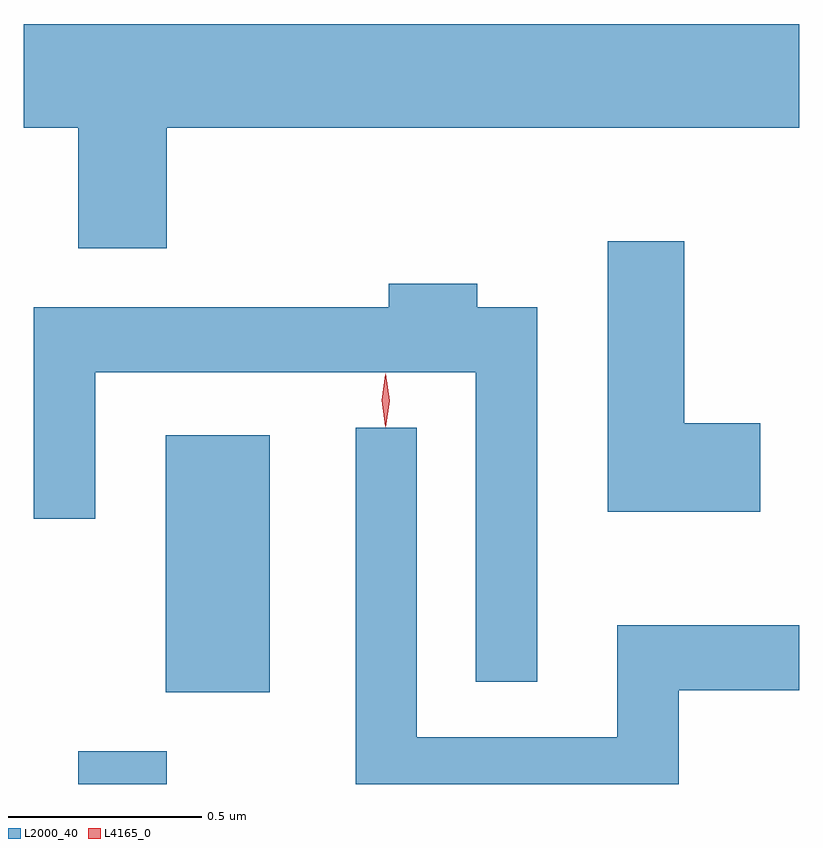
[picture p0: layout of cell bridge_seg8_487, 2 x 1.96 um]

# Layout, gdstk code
import gdstk
lib = gdstk.Library(unit=1e-6, precision=1e-09)
def R(c, l, rs):  # rectangles x0, y0, x1, y1
    for r in rs: c.add(gdstk.rectangle(r[:2], r[2:], *l))
def P(c, l, *ps):  # polygons
    for p in ps: c.add(gdstk.Polygon(p, *l))
L2000_40 = (2000, 40)
L4165_0 = (4165, 0)

bridge_seg8_487 = lib.new_cell('bridge_seg8_487')
R(bridge_seg8_487, L2000_40, [(509.561,1927.964,509.789,1928.049), (509.786,1928.201,510.054,1928.864)])
P(bridge_seg8_487, L2000_40, [(509.789,1929.656),(511.42,1929.656),(511.42,1929.924),(509.42,1929.924),(509.42,1929.656),(509.561,1929.656),(509.561,1929.346),(509.789,1929.346)],
  [(511.319,1928.894),(511.124,1928.894),(511.124,1929.364),(510.926,1929.364),(510.926,1928.666),(511.319,1928.666)],
  [(510.744,1929.194),(510.589,1929.194),(510.589,1929.254),(510.361,1929.254),(510.361,1929.194),(509.446,1929.194),(509.446,1928.648),(509.604,1928.648),(509.604,1929.026),(510.586,1929.026),(510.586,1928.228),(510.744,1928.228)],
  [(511.109,1928.206),(511.42,1928.206),(511.42,1928.374),(510.951,1928.374),(510.951,1928.084),(510.434,1928.084),(510.434,1928.883),(510.276,1928.883),(510.276,1927.964),(511.109,1927.964)])
P(bridge_seg8_487, L4165_0, [(510.353,1928.884),(510.344,1928.953),(510.353,1929.022),(510.354,1929.023),(510.354,1929.022),(510.364,1928.953),(510.354,1928.884),(510.354,1928.884)],
  [(510.352,1928.887),(510.343,1928.954),(510.352,1929.02),(510.352,1929.02),(510.353,1929.02),(510.362,1928.954),(510.353,1928.887),(510.353,1928.887)])

lib.write_gds('bridge_seg8_487.gds')
